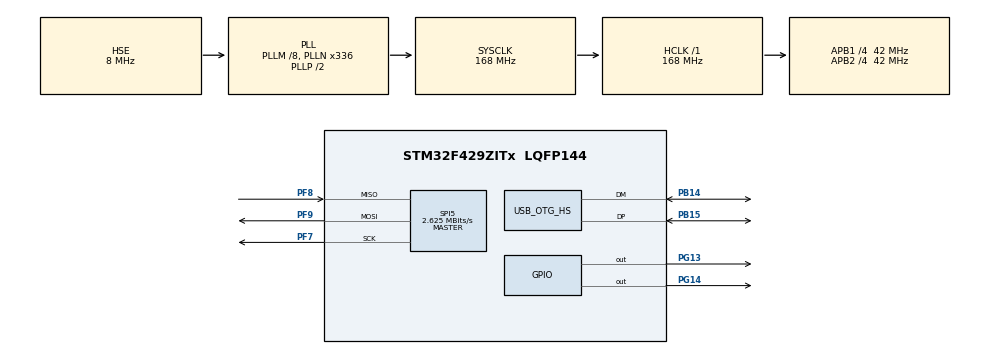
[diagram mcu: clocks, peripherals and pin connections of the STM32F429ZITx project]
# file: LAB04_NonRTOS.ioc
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Mcu.Family=STM32F4
Mcu.Name=STM32F429ZITx
Mcu.Package=LQFP144
NVIC.OTG_HS_IRQn=true\:0\:0\:false\:false\:true\:true\:true\:true
NVIC.PriorityGroup=NVIC_PRIORITYGROUP_4
PB14.Mode=Device_Only_FS
PB14.Signal=USB_OTG_HS_DM
PB15.Mode=Device_Only_FS
PB15.Signal=USB_OTG_HS_DP
PF7.Mode=Full_Duplex_Master
PF7.Signal=SPI5_SCK
PF8.Mode=Full_Duplex_Master
PF8.Signal=SPI5_MISO
PF9.Mode=Full_Duplex_Master
PF9.Signal=SPI5_MOSI
PG13.GPIO_Speed=GPIO_SPEED_FREQ_HIGH
PG13.Signal=GPIO_Output
PG14.GPIO_Speed=GPIO_SPEED_FREQ_HIGH
PG14.Signal=GPIO_Output
PH0/OSC_IN.Mode=HSE-External-Oscillator
PH0/OSC_IN.Signal=RCC_OSC_IN
PH1/OSC_OUT.Mode=HSE-External-Oscillator
PH1/OSC_OUT.Signal=RCC_OSC_OUT
ProjectManager.HeapSize=0x2000
ProjectManager.StackSize=0x400
ProjectManager.TargetToolchain=STM32CubeIDE
RCC.48MHZClocksFreq_Value=48000000
RCC.AHBFreq_Value=168000000
RCC.APB1CLKDivider=RCC_HCLK_DIV4
RCC.APB1Freq_Value=42000000
RCC.APB1TimFreq_Value=84000000
RCC.APB2CLKDivider=RCC_HCLK_DIV4
RCC.APB2Freq_Value=42000000
RCC.APB2TimFreq_Value=84000000
RCC.CortexFreq_Value=168000000
RCC.HCLKFreq_Value=168000000
RCC.HSE_VALUE=8000000
RCC.HSI_VALUE=16000000
RCC.LSE_VALUE=32768
RCC.PLLM=8
RCC.PLLN=336
RCC.PLLQ=7
RCC.SYSCLKFreq_VALUE=168000000
RCC.SYSCLKSource=RCC_SYSCLKSOURCE_PLLCLK
RCC.VCOOutputFreq_Value=336000000
SPI5.BaudRatePrescaler=SPI_BAUDRATEPRESCALER_16
SPI5.CalculateBaudRate=2.625 MBits/s
SPI5.Direction=SPI_DIRECTION_2LINES
SPI5.Mode=SPI_MODE_MASTER
SPI5.VirtualType=VM_MASTER
USB_DEVICE.CLASS_NAME_HS=CDC
USB_DEVICE.VirtualMode-CDC_HS=Cdc
USB_DEVICE.VirtualModeHS=Cdc_HS
USB_OTG_HS.VirtualMode-Device_Only_FS=Device_Only_FS
VP_USB_DEVICE_VS_USB_DEVICE_CDC_HS.Mode=CDC_HS
board=custom

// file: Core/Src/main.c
/* USER CODE BEGIN Header */
/**
  ******************************************************************************
  * @file           : main.c
  * @brief          : Main program body
  ******************************************************************************
  * @attention
  *
  * Copyright (c) 2022 STMicroelectronics.
  * All rights reserved.
  *
  * This software is licensed under terms that can be found in the LICENSE file
  * in the root directory of this software component.
  * If no LICENSE file comes with this software, it is provided AS-IS.
  *
  ******************************************************************************
  */
/* USER CODE END Header */
#include "main.h"
#include "usb_device.h"
#include "usbd_cdc_if.h"
/* USER CODE BEGIN Includes */
#include "stm32f429i_discovery_lcd.h"
#include "l3gd20.h"
#include "stm32f429i_discovery_gyroscope.h"

/* USER CODE END Includes */

SPI_HandleTypeDef hspi5;

void SystemClock_Config(void);
static void MX_GPIO_Init(void);
static void MX_SPI5_Init(void);

int main(void)
{
  /* USER CODE BEGIN 1 */
	float pfData[5];
	uint8_t buffer[100];
  /* USER CODE END 1 */

  /* MCU Configuration--------------------------------------------------------*/

  /* Reset of all peripherals, Initializes the Flash interface and the Systick. */
  HAL_Init();

  /* USER CODE BEGIN Init */
  BSP_GYRO_Init();
  /* USER CODE END Init */

  /* Configure the system clock */
  SystemClock_Config();

  /* Initialize all configured peripherals */
  MX_GPIO_Init();
  MX_SPI5_Init();
  MX_USB_DEVICE_Init();
  /* USER CODE BEGIN 2 */
  BSP_LCD_Init();//init LCD
  //set the layer buffer address into SDRAM
  BSP_LCD_LayerDefaultInit(1, SDRAM_DEVICE_ADDR);
  BSP_LCD_SelectLayer(1);//select on which layer we write
  BSP_LCD_DisplayOn();//turn on LCD
  BSP_LCD_Clear(LCD_COLOR_BLUE);//clear the LCD on blue color
  BSP_LCD_SetBackColor(LCD_COLOR_BLUE);//set text background color
  BSP_LCD_SetTextColor(LCD_COLOR_WHITE);//set text color
  //write text
  Point top [] = {{120, 0}, {110, 10}, {130, 10}};
  Point bot [] = {{120, 320}, {110, 310}, {130, 310}};
  Point left [] = {{0, 160}, {10, 150}, {10, 170}};
  Point right [] = {{240, 160}, {230, 150}, {230, 170}};

  /* USER CODE END 2 */

  /* Infinite loop */
  while (1)
  {
	  L3GD20_ReadXYZAngRate(pfData);
	  if (pfData[0]<0&&pfData[1]<0)
	  {
		  BSP_LCD_FillPolygon(top, 3);
	  	  BSP_LCD_FillPolygon(left, 3);
	  	  HAL_Delay(1000);
	  }
	  if (pfData[0]<0&&pfData[1]>0)
	  {
	  	  BSP_LCD_FillPolygon(top, 3);
	  	  BSP_LCD_FillPolygon(right, 3);
	  	  HAL_Delay(1000);
	  }
	  if (pfData[0]>0&&pfData[1]<0)
	  {
	  	  BSP_LCD_FillPolygon(bot, 3);
	  	  BSP_LCD_FillPolygon(left, 3);
	  	  HAL_Delay(1000);
	  }
	  if (pfData[0]>0&&pfData[1]>0)
	  {
	  	  BSP_LCD_FillPolygon(bot, 3);
	  	  BSP_LCD_FillPolygon(right, 3);
	  	  HAL_Delay(1000);
	  }
	  BSP_LCD_Clear(LCD_COLOR_BLUE);
	  sprintf(buffer, "X = %4f, Y = %4f, Z = %4f\n", pfData[0], pfData[1], pfData[2]);
	  CDC_Transmit_HS((uint8_t*)buffer,strlen(buffer));
	  /* USER CODE BEGIN 3 */
	  HAL_Delay(1000);
    /* USER CODE BEGIN 3 */
  }
  /* USER CODE END 3 */
}

void SystemClock_Config(void)
{
  RCC_OscInitTypeDef RCC_OscInitStruct = {0};
  RCC_ClkInitTypeDef RCC_ClkInitStruct = {0};

  /** Configure the main internal regulator output voltage
  */
  __HAL_RCC_PWR_CLK_ENABLE();
  __HAL_PWR_VOLTAGESCALING_CONFIG(PWR_REGULATOR_VOLTAGE_SCALE1);

  /** Initializes the RCC Oscillators according to the specified parameters
  * in the RCC_OscInitTypeDef structure.
  */
  RCC_OscInitStruct.OscillatorType = RCC_OSCILLATORTYPE_HSE;
  RCC_OscInitStruct.HSEState = RCC_HSE_ON;
  RCC_OscInitStruct.PLL.PLLState = RCC_PLL_ON;
  RCC_OscInitStruct.PLL.PLLSource = RCC_PLLSOURCE_HSE;
  RCC_OscInitStruct.PLL.PLLM = 8;
  RCC_OscInitStruct.PLL.PLLN = 336;
  RCC_OscInitStruct.PLL.PLLP = RCC_PLLP_DIV2;
  RCC_OscInitStruct.PLL.PLLQ = 7;
  if (HAL_RCC_OscConfig(&RCC_OscInitStruct) != HAL_OK)
  {
    Error_Handler();
  }

  /** Initializes the CPU, AHB and APB buses clocks
  */
  RCC_ClkInitStruct.ClockType = RCC_CLOCKTYPE_HCLK|RCC_CLOCKTYPE_SYSCLK
                              |RCC_CLOCKTYPE_PCLK1|RCC_CLOCKTYPE_PCLK2;
  RCC_ClkInitStruct.SYSCLKSource = RCC_SYSCLKSOURCE_PLLCLK;
  RCC_ClkInitStruct.AHBCLKDivider = RCC_SYSCLK_DIV1;
  RCC_ClkInitStruct.APB1CLKDivider = RCC_HCLK_DIV4;
  RCC_ClkInitStruct.APB2CLKDivider = RCC_HCLK_DIV4;

  if (HAL_RCC_ClockConfig(&RCC_ClkInitStruct, FLASH_LATENCY_5) != HAL_OK)
  {
    Error_Handler();
  }
}

static void MX_SPI5_Init(void)
{

  /* SPI5 parameter configuration*/
  hspi5.Instance = SPI5;
  hspi5.Init.Mode = SPI_MODE_MASTER;
  hspi5.Init.Direction = SPI_DIRECTION_2LINES;
  hspi5.Init.DataSize = SPI_DATASIZE_8BIT;
  hspi5.Init.CLKPolarity = SPI_POLARITY_LOW;
  hspi5.Init.CLKPhase = SPI_PHASE_1EDGE;
  hspi5.Init.NSS = SPI_NSS_SOFT;
  hspi5.Init.BaudRatePrescaler = SPI_BAUDRATEPRESCALER_16;
  hspi5.Init.FirstBit = SPI_FIRSTBIT_MSB;
  hspi5.Init.TIMode = SPI_TIMODE_DISABLE;
  hspi5.Init.CRCCalculation = SPI_CRCCALCULATION_DISABLE;
  hspi5.Init.CRCPolynomial = 10;
  if (HAL_SPI_Init(&hspi5) != HAL_OK)
  {
    Error_Handler();
  }

}

static void MX_GPIO_Init(void)
{
  GPIO_InitTypeDef GPIO_InitStruct = {0};

  /* GPIO Ports Clock Enable */
  __HAL_RCC_GPIOF_CLK_ENABLE();
  __HAL_RCC_GPIOH_CLK_ENABLE();
  __HAL_RCC_GPIOB_CLK_ENABLE();
  __HAL_RCC_GPIOG_CLK_ENABLE();

  /*Configure GPIO pin Output Level */
  HAL_GPIO_WritePin(GPIOG, GPIO_PIN_13|GPIO_PIN_14, GPIO_PIN_RESET);

  /*Configure GPIO pins : PG13 PG14 */
  GPIO_InitStruct.Pin = GPIO_PIN_13|GPIO_PIN_14;
  GPIO_InitStruct.Mode = GPIO_MODE_OUTPUT_PP;
  GPIO_InitStruct.Pull = GPIO_NOPULL;
  GPIO_InitStruct.Speed = GPIO_SPEED_FREQ_HIGH;
  HAL_GPIO_Init(GPIOG, &GPIO_InitStruct);

}

void Error_Handler(void)
{
  __disable_irq();
  while (1)
  {
  }
}
